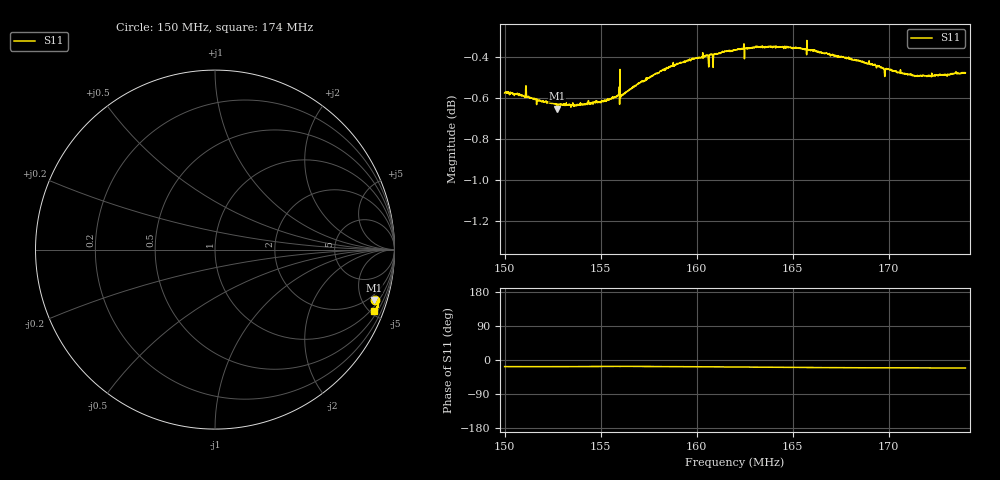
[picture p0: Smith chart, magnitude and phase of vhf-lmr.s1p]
! Calibrated averaged scanner-service zoom
# Hz S RI R 50
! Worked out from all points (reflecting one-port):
!   2001 points, 150 MHz to 174 MHz, reference 50 ohm
!   lowest |S11| = -0.7 dB at 152.7 MHz (marker M1), VSWR 26.58, Z = 76.1 - j305 ohm
!   phase of S11 starts at -17 deg and turns -4 deg over the sweep
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1.5e8  0.893 -0.2794
1.5096e8  0.8906 -0.2819
1.51044e8  0.8902 -0.2818
1.51788e8  0.888 -0.2816
1.52736e8  0.8842 -0.28
1.53e8  0.8867 -0.2793
1.54212e8  0.8877 -0.2763
1.55424e8  0.8915 -0.2728
1.56e8  0.8909 -0.2748
1.56132e8  0.8942 -0.2719
1.56144e8  0.8943 -0.2723
1.5636e8  0.8959 -0.2725
1.5708e8  0.9004 -0.275
1.58184e8  0.9047 -0.2811
1.59e8  0.9072 -0.2861
1.6044e8  0.909 -0.2939
1.6074e8  0.9094 -0.296
1.61412e8  0.9093 -0.2996
1.62e8  0.9094 -0.3027
1.63128e8  0.909 -0.3098
1.65e8  0.9043 -0.3202
1.66212e8  0.9008 -0.326
1.68e8  0.894 -0.332
1.69464e8  0.8885 -0.3353
1.69752e8  0.8875 -0.3351
1.71e8  0.8836 -0.3356
1.72332e8  0.8829 -0.3361
1.74e8  0.8831 -0.3402
